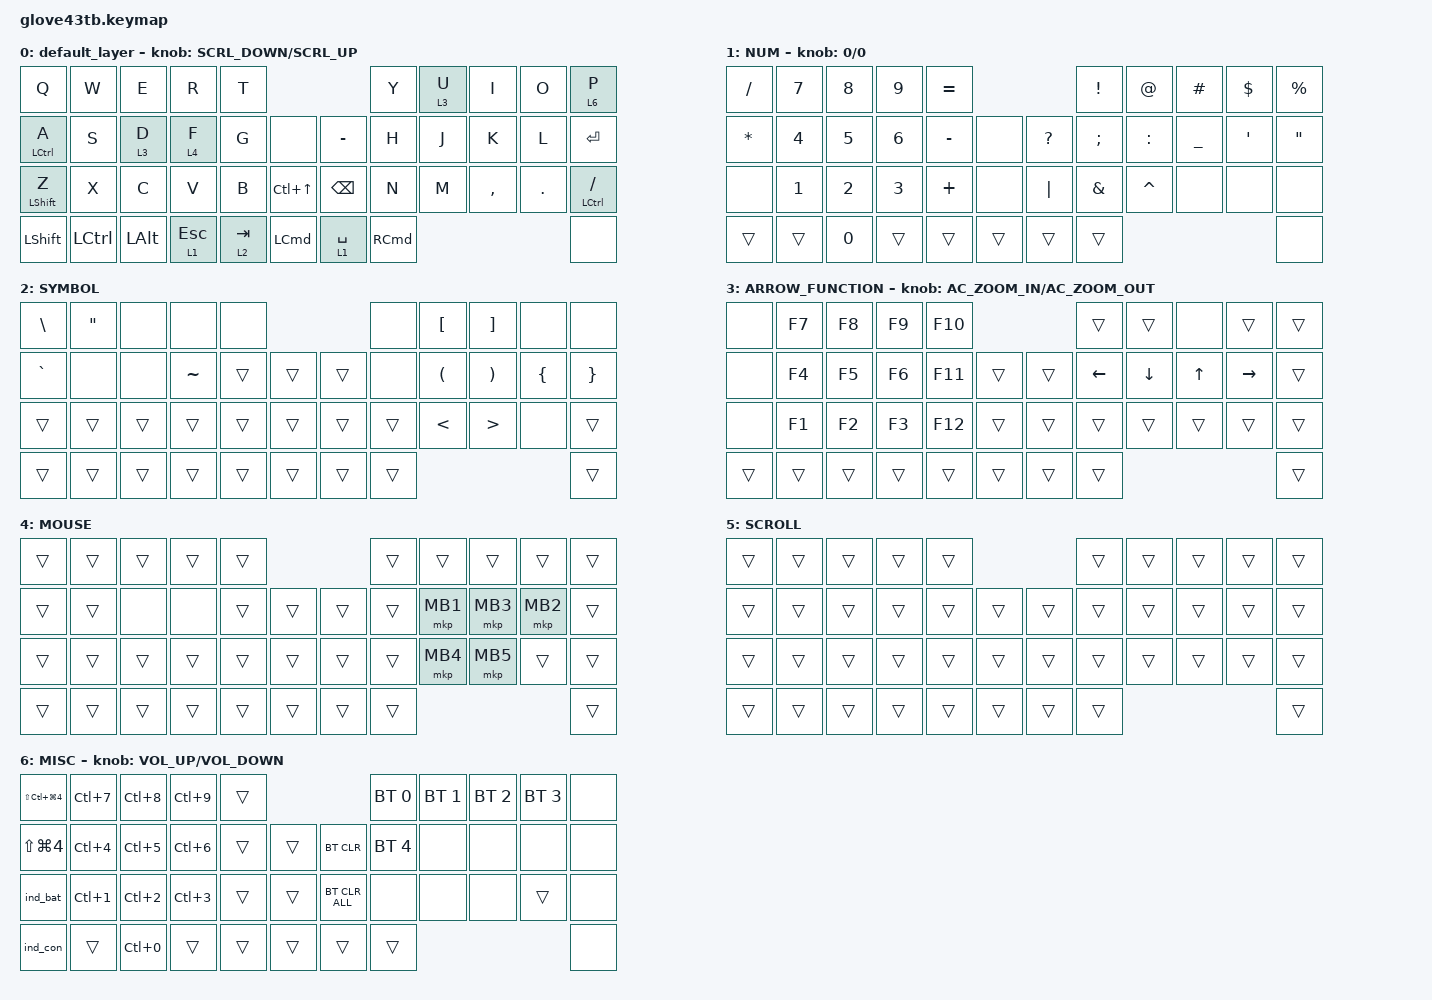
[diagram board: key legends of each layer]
#include <behaviors.dtsi>
#include <behaviors/rgbled_widget.dtsi>
#include <dt-bindings/zmk/bt.h>
#include <dt-bindings/zmk/keys.h>

#define ZMK_POINTING_DEFAULT_SCRL_VAL 150
#include <dt-bindings/zmk/pointing.h>

&mt {
    flavor = "balanced";
    quick-tap-ms = <0>;
};

&msc {
    delay-ms = <3>;
    trigger-period-ms = <3>;
    time-to-max-speed-ms = <100>;
    acceleration-exponent = <0>;
};

/ {
    combos { compatible = "zmk,combos"; };

    behaviors {
        mouse_wheel_scroll: mouse_wheel_scroll {
            compatible = "zmk,behavior-sensor-rotate-var";
            #sensor-binding-cells = <2>;
            bindings = <&msc>, <&msc>;
            tap-ms = <20>;
        };

        hold_layer_1: hold_layer_1 {
            compatible = "zmk,behavior-hold-tap";
            label = "HOLD_LAYER_1";
            bindings = <&lt>, <&tog>;

            #binding-cells = <2>;
            tapping-term-ms = <300>;
        };
    };

    macros {
        KVM: KVM {
            compatible = "zmk,behavior-macro";
            #binding-cells = <0>;
            bindings = <&kp LC(LA(M))>;
            label = "KVM";
        };
    };

    keymap {
        compatible = "zmk,keymap";

        default_layer {
            bindings = <
&kp Q             &kp W             &kp E         &kp R         &kp T                                           &kp Y              &lt 3 U  &kp I      &kp O    &lt 6 P
&mt LCTRL A       &kp S             &lt 3 D       &lt 4 F       &kp G      &none                 &kp MINUS      &kp H              &kp J    &kp K      &kp L    &kp ENTER
&mt LEFT_SHIFT Z  &kp X             &kp C         &kp V         &kp B      &kp LC(UP_ARROW)      &kp BACKSPACE  &kp N              &kp M    &kp COMMA  &kp DOT  &mt LEFT_CONTROL SLASH
&kp LEFT_SHIFT    &kp LEFT_CONTROL  &kp LEFT_ALT  &lt 1 ESCAPE  &lt 2 TAB  &kp LEFT_COMMAND      &lt 1 SPACE    &kp RIGHT_COMMAND                               &none
            >;

            sensor-bindings = <&mouse_wheel_scroll SCRL_DOWN SCRL_UP>;
        };

        NUM {
            bindings = <
&kp SLASH     &kp NUMBER_7  &kp NUMBER_8  &kp NUMBER_9  &kp EQUAL                            &kp EXCLAMATION  &kp AT_SIGN  &kp HASH        &kp DOLLAR        &kp PERCENT
&kp ASTERISK  &kp NUMBER_4  &kp NUMBER_5  &kp NUMBER_6  &kp MINUS  &none       &kp QUESTION  &kp SEMICOLON    &kp COLON    &kp UNDERSCORE  &kp SINGLE_QUOTE  &kp DOUBLE_QUOTES
&none         &kp NUMBER_1  &kp NUMBER_2  &kp NUMBER_3  &kp PLUS   &none       &kp PIPE      &kp AMPERSAND    &kp CARET    &none           &none             &none
&trans        &trans        &kp NUMBER_0  &trans        &trans     &trans      &trans        &trans                                                          &none
            >;

            sensor-bindings = <&inc_dec_kp 0 0>;
        };

        SYMBOL {
            bindings = <
&kp BACKSLASH  &kp DOUBLE_QUOTES  &none   &none      &none                       &none   &kp LEFT_BRACKET      &kp RIGHT_BRACKET      &none           &none
&kp GRAVE      &none              &none   &kp TILDE  &trans  &trans      &trans  &none   &kp LEFT_PARENTHESIS  &kp RIGHT_PARENTHESIS  &kp LEFT_BRACE  &kp RIGHT_BRACE
&trans         &trans             &trans  &trans     &trans  &trans      &trans  &trans  &kp LESS_THAN         &kp GREATER_THAN       &none           &trans
&trans         &trans             &trans  &trans     &trans  &trans      &trans  &trans                                                               &trans
            >;
        };

        ARROW_FUNCTION {
            bindings = <
&none   &kp F7  &kp F8  &kp F9  &kp F10                      &trans          &trans          &none         &trans           &trans
&none   &kp F4  &kp F5  &kp F6  &kp F11  &trans      &trans  &kp LEFT_ARROW  &kp DOWN_ARROW  &kp UP_ARROW  &kp RIGHT_ARROW  &trans
&none   &kp F1  &kp F2  &kp F3  &kp F12  &trans      &trans  &trans          &trans          &trans        &trans           &trans
&trans  &trans  &trans  &trans  &trans   &trans      &trans  &trans                                                         &trans
            >;

            sensor-bindings = <&inc_dec_kp C_AC_ZOOM_IN C_AC_ZOOM_OUT>;
        };

        MOUSE {
            bindings = <
&trans  &trans  &trans  &trans  &trans                      &trans  &trans    &trans    &trans    &trans
&trans  &trans  &none   &none   &trans  &trans      &trans  &trans  &mkp MB1  &mkp MB3  &mkp MB2  &trans
&trans  &trans  &trans  &trans  &trans  &trans      &trans  &trans  &mkp MB4  &mkp MB5  &trans    &trans
&trans  &trans  &trans  &trans  &trans  &trans      &trans  &trans                                &trans
            >;
        };

        SCROLL {
            bindings = <
&trans  &trans  &trans  &trans  &trans                      &trans  &trans  &trans  &trans  &trans
&trans  &trans  &trans  &trans  &trans  &trans      &trans  &trans  &trans  &trans  &trans  &trans
&trans  &trans  &trans  &trans  &trans  &trans      &trans  &trans  &trans  &trans  &trans  &trans
&trans  &trans  &trans  &trans  &trans  &trans      &trans  &trans                          &trans
            >;
        };

        MISC {
            bindings = <
&kp LS(LC(LG(NUMBER_4)))  &kp LC(NUMBER_7)  &kp LC(NUMBER_8)  &kp LC(NUMBER_9)  &trans                              &bt BT_SEL 0  &bt BT_SEL 1  &bt BT_SEL 2  &bt BT_SEL 3  &none
&kp LS(LG(NUMBER_4))      &kp LC(NUMBER_4)  &kp LC(NUMBER_5)  &kp LC(NUMBER_6)  &trans  &trans      &bt BT_CLR      &bt BT_SEL 4  &none         &none         &none         &none
&ind_bat                  &kp LC(NUMBER_1)  &kp LC(NUMBER_2)  &kp LC(NUMBER_3)  &trans  &trans      &bt BT_CLR_ALL  &none         &none         &none         &trans        &none
&ind_con                  &trans            &kp LC(NUMBER_0)  &trans            &trans  &trans      &trans          &trans                                                  &none
            >;

            sensor-bindings = <&inc_dec_kp C_VOL_UP C_VOLUME_DOWN>;
        };
    };
};
